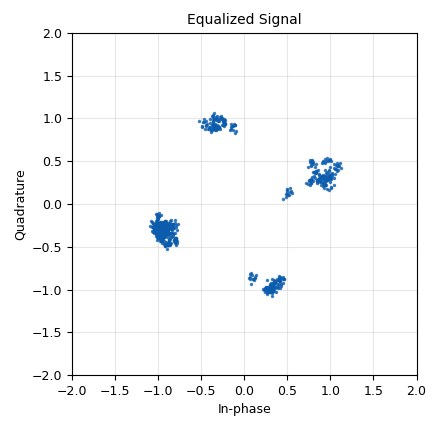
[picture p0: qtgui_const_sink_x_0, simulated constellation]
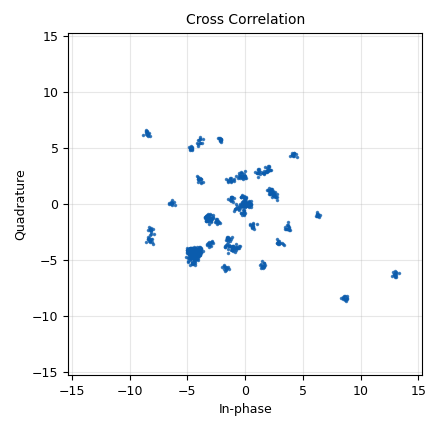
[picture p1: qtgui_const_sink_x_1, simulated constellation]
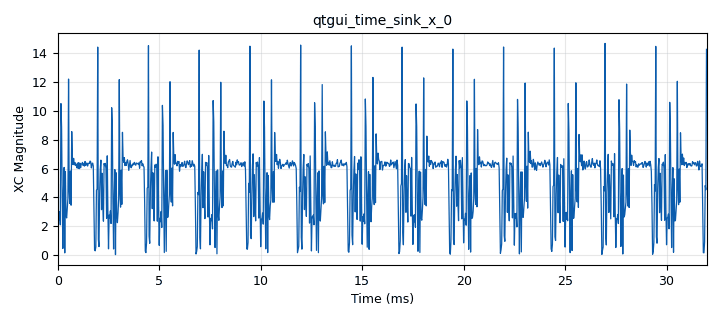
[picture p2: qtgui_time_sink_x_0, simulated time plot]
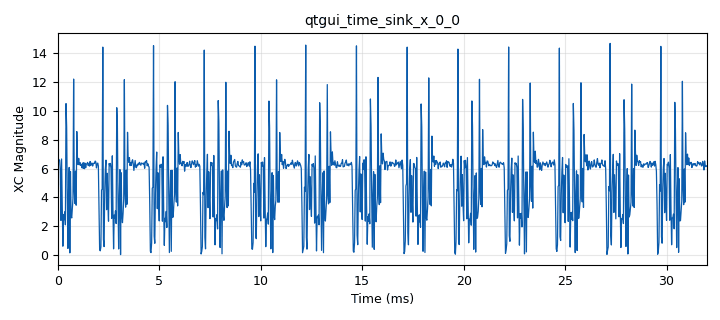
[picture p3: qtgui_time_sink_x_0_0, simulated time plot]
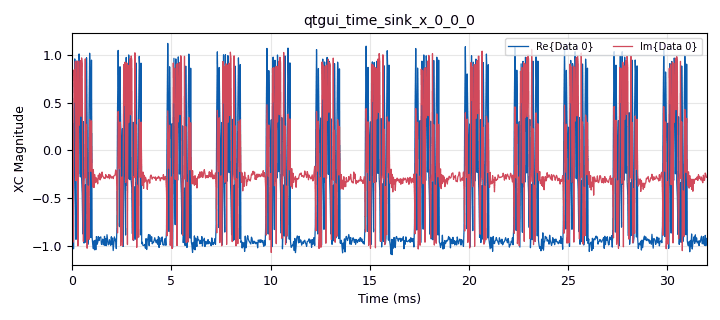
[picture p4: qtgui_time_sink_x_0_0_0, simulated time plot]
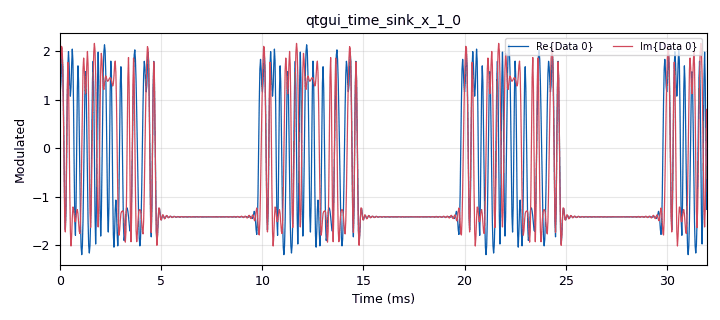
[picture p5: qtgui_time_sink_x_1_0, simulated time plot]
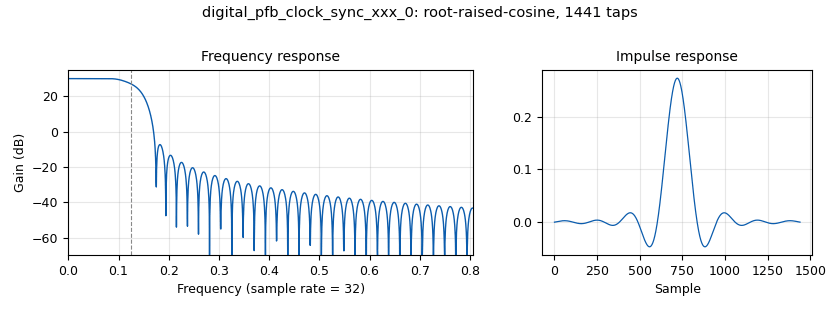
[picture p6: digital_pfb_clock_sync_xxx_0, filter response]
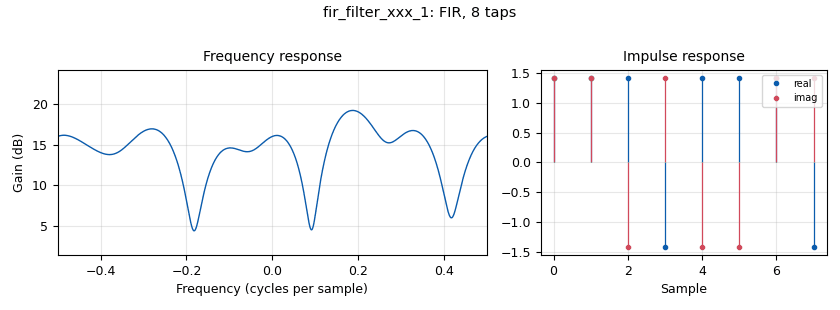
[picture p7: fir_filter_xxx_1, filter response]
options:
  parameters:
    author: Naoki Pross
    generate_options: qt_gui
    id: correlator
    output_language: python
    title: Correlator Test
  states: {}

blocks:
- name: access_code_symbols
  id: variable
  parameters:
    value: '[(-1.4142135623730951-1.4142135623730951j), (1.4142135623730951-1.4142135623730951j), (1.4142135623730951+1.4142135623730951j), (1.4142135623730951+1.4142135623730951j), (-1.4142135623730951-1.4142135623730951j), (1.4142135623730951+1.4142135623730951j), (1.4142135623730951-1.4142135623730951j), (1.4142135623730951-1.4142135623730951j)]'
  states: {}
- name: access_code_symbols_sps
  id: variable
  parameters:
    value: '[(1.4142197+1.4142197j), (1.4142197+1.4142197j), (1.4142197+1.4142197j), (1.4142197+1.4142197j), (1.4142197-1.4142197j), (1.4142197-1.4142197j), (1.4142197-1.4142197j), (1.4142197-1.4142197j), (1.4142197-1.4142197j), (1.4142197-1.4142197j), (1.4142197-1.4142197j), (1.4142197-1.4142197j), (-1.4142197-1.4142197j), (-1.4142197-1.4142197j), (-1.4142197-1.4142197j), (-1.4142197-1.4142197j), (1.4142197-1.4142197j), (1.4142197-1.4142197j), (1.4142197-1.4142197j), (1.4142197-1.4142197j), (1.4142197+1.4142197j), (1.4142197+1.4142197j), (1.4142197+1.4142197j), (1.4142197+1.4142197j), (1.4142197+1.4142197j), (1.4142197+1.4142197j), (1.4142197+1.4142197j), (1.4142197+1.4142197j)]'
  states: {}
- name: const
  id: variable_constellation
  parameters:
    precision: '8'
    type: qpsk
  states: {}
- name: excess_bw
  id: variable
  parameters:
    value: '.35'
  states: {}
- name: nfilts
  id: variable
  parameters:
    value: '32'
  states: {}
- name: revconj_access_code_symbols
  id: variable
  parameters:
    value: '[(1.4142135623730951+1.4142135623730951j), (1.4142135623730951+1.4142135623730951j), (1.4142135623730951-1.4142135623730951j), (-1.4142135623730951+1.4142135623730951j), (1.4142135623730951-1.4142135623730951j), (1.4142135623730951-1.4142135623730951j), (1.4142135623730951+1.4142135623730951j), (-1.4142135623730951+1.4142135623730951j)]'
  states: {}
- name: rrc_taps
  id: variable
  parameters:
    value: firdes.root_raised_cosine(nfilts, nfilts, 1.0/float(sps), excess_bw, 45*nfilts)
  states: {}
- name: samp_rate
  id: variable
  parameters:
    value: '32000'
  states: {}
- name: sps
  id: variable
  parameters:
    value: '4'
  states: {}
- name: testvec
  id: variable
  parameters:
    value: '[31, 53] + [0x12, 0xe3, 0x9b, 0xee, 0x84, 0x23, 0x41, 0xf3]'
  states: {}
- name: timing_loop_bw
  id: variable
  parameters:
    value: 2 * 3.141592653589793 / 100
  states: {}
- name: blocks_burst_tagger_0
  id: blocks_burst_tagger
  parameters:
    false_key: nothing
    false_value: '0'
    true_key: peak
    true_value: 'True'
    type: float
  states: {state: disabled}
- name: blocks_char_to_short_0
  id: blocks_char_to_short
  parameters: {}
  states: {state: disabled}
- name: blocks_complex_to_magphase_0
  id: blocks_complex_to_magphase
  parameters: {}
  states: {}
- name: blocks_complex_to_magphase_0_0
  id: blocks_complex_to_magphase
  parameters: {}
  states: {}
- name: blocks_complex_to_magphase_0_1
  id: blocks_complex_to_magphase
  parameters: {}
  states: {state: disabled}
- name: blocks_multiply_const_vxx_0
  id: blocks_multiply_const_vxx
  parameters:
    const: 180 / 3.141592653589793
    type: float
  states: {}
- name: blocks_multiply_const_vxx_0_0
  id: blocks_multiply_const_vxx
  parameters:
    const: 180 / 3.141592653589793
    type: float
  states: {state: disabled}
- name: blocks_null_sink_0
  id: blocks_null_sink
  parameters:
    type: byte
  states: {state: disabled}
- name: blocks_null_sink_2
  id: blocks_null_sink
  parameters:
    type: float
  states: {state: disabled}
- name: blocks_null_sink_3
  id: blocks_null_sink
  parameters:
    type: float
  states: {}
- name: blocks_null_source_0
  id: blocks_null_source
  parameters:
    type: byte
  states: {}
- name: blocks_peak_detector2_fb_0
  id: blocks_peak_detector2_fb
  parameters:
    alpha: '0.001'
    look_ahead: '1000'
    threshold_factor_rise: '7'
  states: {state: disabled}
- name: blocks_stream_mux_0
  id: blocks_stream_mux
  parameters:
    lengths: '[10, len(testvec)]'
    type: byte
  states: {}
- name: blocks_stream_mux_1
  id: blocks_stream_mux
  parameters:
    lengths: '[len(access_code_symbols_sps), sps * (len(testvec) + 15)]'
    type: complex
  states: {state: disabled}
- name: blocks_throttle_0
  id: blocks_throttle
  parameters:
    samples_per_second: samp_rate
    type: complex
  states: {}
- name: blocks_vector_source_x_0
  id: blocks_vector_source_x
  parameters:
    repeat: 'False'
    type: byte
    vector: testvec * 1600
  states: {}
- name: blocks_vector_source_x_1
  id: blocks_vector_source_x
  parameters:
    repeat: 'True'
    type: complex
    vector: access_code_symbols_sps
  states: {state: disabled}
- name: channels_channel_model_0
  id: channels_channel_model
  parameters:
    epsilon: '1.0'
    freq_offset: '0.000001'
    noise_voltage: '0.2'
    seed: '243'
    taps: '-1.4 + .4j'
  states: {}
- name: digital_cma_equalizer_cc_0
  id: digital_cma_equalizer_cc
  parameters:
    modulus: '1'
    mu: '.002'
    num_taps: '15'
    sps: '1'
  states: {}
- name: digital_constellation_decoder_cb_0
  id: digital_constellation_decoder_cb
  parameters:
    constellation: const
  states: {state: disabled}
- name: digital_constellation_modulator_0
  id: digital_constellation_modulator
  parameters:
    constellation: const
    differential: 'False'
    excess_bw: excess_bw
    samples_per_symbol: sps
  states: {}
- name: digital_corr_est_cc_0
  id: digital_corr_est_cc
  parameters:
    mark_delay: '0'
    sps: '1'
    symbols: access_code_symbols
    threshold: '.8'
    threshold_method: digital.THRESHOLD_DYNAMIC
  states: {}
- name: digital_pfb_clock_sync_xxx_0
  id: digital_pfb_clock_sync_xxx
  parameters:
    filter_size: nfilts
    init_phase: '16'
    loop_bw: timing_loop_bw
    max_dev: '1.5'
    osps: '1'
    sps: sps
    taps: rrc_taps
    type: ccf
  states: {}
- name: fir_filter_xxx_1
  id: fir_filter_xxx
  parameters:
    decim: '1'
    taps: revconj_access_code_symbols
    type: ccc
  states: {}
- name: high_pass_filter_0
  id: high_pass_filter
  parameters:
    cutoff_freq: 5e3
    decim: '1'
    gain: '1'
    samp_rate: samp_rate
    type: fir_filter_fff
    width: '.7'
    win: window.WIN_HAMMING
  states: {state: disabled}
- name: low_pass_filter_0
  id: low_pass_filter
  parameters:
    cutoff_freq: 7e3
    decim: '1'
    gain: '1'
    samp_rate: samp_rate
    type: fir_filter_fff
    width: '.8'
    win: window.WIN_HAMMING
  states: {state: disabled}
- name: qtgui_const_sink_x_0
  id: qtgui_const_sink_x
  parameters:
    gui_hint: 0,1,2,1
    name: '"Equalized Signal"'
    size: '1024'
    type: complex
  states: {}
- name: qtgui_const_sink_x_1
  id: qtgui_const_sink_x
  parameters:
    alpha1: '.5'
    autoscale: 'True'
    grid: 'True'
    gui_hint: 2,1,2,1
    marker1: '9'
    name: '"Cross Correlation"'
    size: '1024'
    style1: '2'
    type: complex
  states: {}
- name: qtgui_const_sink_x_2
  id: qtgui_const_sink_x
  parameters:
    gui_hint: '2,1,2,1 '
    name: '"Phase Correction"'
    size: '1024'
    type: complex
  states: {state: disabled}
- name: qtgui_time_sink_x_0
  id: qtgui_time_sink_x
  parameters:
    autoscale: 'True'
    gui_hint: 2,0,1,1
    size: '1024'
    srate: samp_rate
    type: float
    ylabel: XC Magnitude
    ymax: '20'
    ymin: '0'
  states: {}
- name: qtgui_time_sink_x_0_0
  id: qtgui_time_sink_x
  parameters:
    autoscale: 'True'
    size: '1024'
    srate: samp_rate
    type: float
    ylabel: XC Magnitude
    ymax: '20'
    ymin: '0'
  states: {}
- name: qtgui_time_sink_x_0_0_0
  id: qtgui_time_sink_x
  parameters:
    autoscale: 'True'
    size: '1024'
    srate: samp_rate
    type: complex
    ylabel: XC Magnitude
    ymax: '2'
    ymin: '-2'
  states: {}
- name: qtgui_time_sink_x_1
  id: qtgui_time_sink_x
  parameters:
    size: '1024'
    srate: samp_rate
    type: float
    ymax: '20'
    ymin: '-5'
  states: {state: disabled}
- name: qtgui_time_sink_x_1_0
  id: qtgui_time_sink_x
  parameters:
    autoscale: 'True'
    gui_hint: 0,0,1,1
    size: '1024'
    srate: samp_rate
    type: complex
    ylabel: Modulated
    ymax: '2'
    ymin: '-2'
  states: {}
- name: qtgui_time_sink_x_1_1
  id: qtgui_time_sink_x
  parameters:
    autoscale: 'True'
    grid: 'True'
    gui_hint: 1,0,1,1
    size: '1024'
    srate: samp_rate
    type: complex
    ylabel: Equalized
    ymax: '2'
    ymin: '-2'
  states: {}
- name: qtgui_time_sink_x_2
  id: qtgui_time_sink_x
  parameters:
    autoscale: 'True'
    gui_hint: 3,0,1,1
    size: '1024'
    srate: samp_rate
    type: float
    ylabel: XC Phase
  states: {}
- name: qtgui_time_sink_x_2_0
  id: qtgui_time_sink_x
  parameters:
    autoscale: 'True'
    size: '1024'
    srate: samp_rate
    type: float
    ylabel: XC Phase
  states: {state: disabled}
- name: root_raised_cosine_filter_0
  id: root_raised_cosine_filter
  parameters:
    alpha: excess_bw
    decim: '1'
    gain: '2'
    ntaps: 11*samp_rate
    samp_rate: samp_rate
    sym_rate: sps * samp_rate
    type: fir_filter_ccf
  states: {state: disabled}
- name: virtual_sink_0
  id: virtual_sink
  parameters:
    stream_id: envelope
  states: {}
- name: virtual_sink_1
  id: virtual_sink
  parameters:
    stream_id: symbols
  states: {}
- name: virtual_sink_2
  id: virtual_sink
  parameters:
    stream_id: xcorrelation
  states: {}
- name: virtual_source_0
  id: virtual_source
  parameters:
    stream_id: envelope
  states: {}
- name: virtual_source_2
  id: virtual_source
  parameters:
    stream_id: symbols
  states: {state: disabled}
- name: virtual_source_3
  id: virtual_source
  parameters:
    stream_id: xcorrelation
  states: {state: disabled}

connections:
- [blocks_char_to_short_0, '0', blocks_burst_tagger_0, '1']
- [blocks_complex_to_magphase_0, '0', qtgui_time_sink_x_0, '0']
- [blocks_complex_to_magphase_0, '1', blocks_multiply_const_vxx_0, '0']
- [blocks_complex_to_magphase_0_0, '0', qtgui_time_sink_x_0_0, '0']
- [blocks_complex_to_magphase_0_0, '1', blocks_multiply_const_vxx_0_0, '0']
- [blocks_complex_to_magphase_0_0, '1', blocks_null_sink_3, '0']
- [blocks_complex_to_magphase_0_1, '0', blocks_burst_tagger_0, '0']
- [blocks_complex_to_magphase_0_1, '0', blocks_peak_detector2_fb_0, '0']
- [blocks_complex_to_magphase_0_1, '0', high_pass_filter_0, '0']
- [blocks_complex_to_magphase_0_1, '0', low_pass_filter_0, '0']
- [blocks_complex_to_magphase_0_1, '1', blocks_null_sink_2, '0']
- [blocks_multiply_const_vxx_0, '0', qtgui_time_sink_x_2, '0']
- [blocks_multiply_const_vxx_0_0, '0', qtgui_time_sink_x_2_0, '0']
- [blocks_null_source_0, '0', blocks_stream_mux_0, '0']
- [blocks_peak_detector2_fb_0, '0', blocks_char_to_short_0, '0']
- [blocks_stream_mux_0, '0', digital_constellation_modulator_0, '0']
- [blocks_stream_mux_1, '0', channels_channel_model_0, '0']
- [blocks_throttle_0, '0', virtual_sink_0, '0']
- [blocks_vector_source_x_0, '0', blocks_stream_mux_0, '1']
- [blocks_vector_source_x_1, '0', root_raised_cosine_filter_0, '0']
- [channels_channel_model_0, '0', blocks_throttle_0, '0']
- [digital_cma_equalizer_cc_0, '0', digital_corr_est_cc_0, '0']
- [digital_cma_equalizer_cc_0, '0', fir_filter_xxx_1, '0']
- [digital_cma_equalizer_cc_0, '0', qtgui_const_sink_x_0, '0']
- [digital_cma_equalizer_cc_0, '0', qtgui_time_sink_x_1_1, '0']
- [digital_cma_equalizer_cc_0, '0', virtual_sink_1, '0']
- [digital_constellation_decoder_cb_0, '0', blocks_null_sink_0, '0']
- [digital_constellation_modulator_0, '0', blocks_stream_mux_1, '1']
- [digital_constellation_modulator_0, '0', channels_channel_model_0, '0']
- [digital_constellation_modulator_0, '0', qtgui_time_sink_x_1_0, '0']
- [digital_corr_est_cc_0, '0', qtgui_time_sink_x_0_0_0, '0']
- [digital_corr_est_cc_0, '1', blocks_complex_to_magphase_0_0, '0']
- [digital_pfb_clock_sync_xxx_0, '0', digital_cma_equalizer_cc_0, '0']
- [fir_filter_xxx_1, '0', blocks_complex_to_magphase_0, '0']
- [fir_filter_xxx_1, '0', qtgui_const_sink_x_1, '0']
- [fir_filter_xxx_1, '0', virtual_sink_2, '0']
- [high_pass_filter_0, '0', qtgui_time_sink_x_1, '0']
- [low_pass_filter_0, '0', qtgui_time_sink_x_1, '0']
- [root_raised_cosine_filter_0, '0', blocks_stream_mux_1, '0']
- [virtual_source_0, '0', digital_pfb_clock_sync_xxx_0, '0']
- [virtual_source_3, '0', blocks_complex_to_magphase_0_1, '0']

metadata:
  file_format: 1
